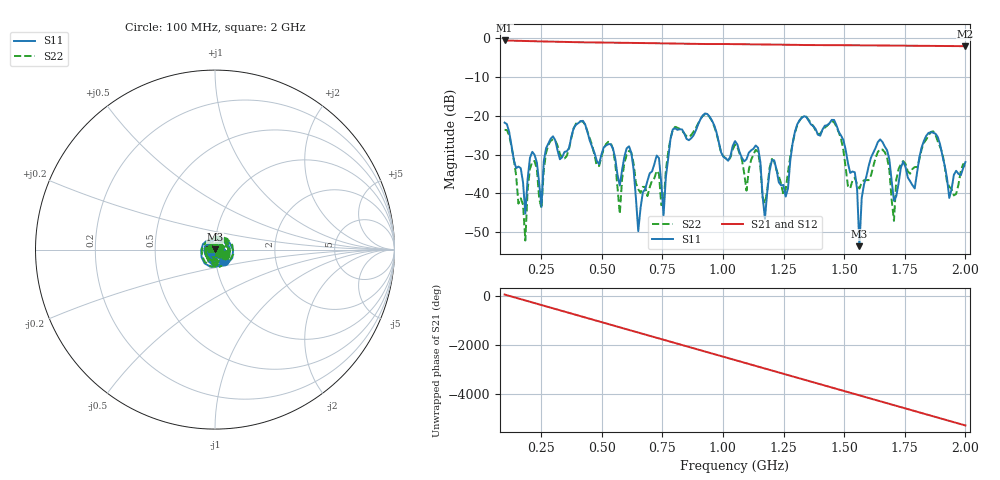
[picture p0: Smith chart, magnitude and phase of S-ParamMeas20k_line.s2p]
!Keysight Technologies,N5242B,MY48420967,A.15.65.19
!Date: Thursday, December 15, 2022 09:51:52
!Correction: S11(C  2-Port  )
!S21(C  2-Port  )
!S12(C  2-Port  )
!S22(C  2-Port  )
!S2P File: Measurements: S11, S21, S12, S22:
# Hz S  dB  R 50
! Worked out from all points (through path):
!   201 points, 100 MHz to 2 GHz, reference 50 ohm
!   highest |S21| = -0.60 dB at 100 MHz (marker M1); lowest = -2.1 dB at 2 GHz (marker M2)
!   group delay of S21, straight-line fit = 7.85 ns
!   lowest |S11| = -53.6 dB at 1.563 GHz (marker M3), VSWR 1.00, Z = 50 + j0.203 ohm
!   |S11| at or under -10 dB: start of sweep to end of sweep
!   |S22| runs from -52.2 to -19.6 dB; largest |S21 - S12| = 0.00057
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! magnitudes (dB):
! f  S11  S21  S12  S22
! 100 MHz  -21.8  -0.6  -0.6  -23.6
! 185.5 MHz  -45.2  -0.7  -0.7  -52.2
! 214 MHz  -29.3  -0.8  -0.8  -31.9
! 252 MHz  -43.4  -0.8  -0.8  -43.9
! 423 MHz  -21.3  -1.1  -1.1  -21.5
! 575 MHz  -38.0  -1.2  -1.2  -45.3
! 613 MHz  -27.9  -1.2  -1.2  -29.1
! 651 MHz  -49.8  -1.2  -1.3  -38.9
! 736.5 MHz  -30.9  -1.3  -1.3  -35.0
! 755.5 MHz  -45.6  -1.3  -1.3  -42.9
! 793.5 MHz  -23.5  -1.4  -1.4  -23.6
! 1.05 GHz  -26.5  -1.5  -1.6  -27.4
! 1.145 GHz  -28.3  -1.6  -1.6  -29.3
! 1.173 GHz  -46.6  -1.6  -1.6  -42.6
! 1.373 GHz  -22.7  -1.8  -1.8  -22.7
! 1.496 GHz  -26.2  -1.8  -1.8  -28.7
! 1.563 GHz  -53.6  -1.8  -1.9  -38.8
! 1.611 GHz  -30.8  -1.9  -1.9  -35.4
! 1.687 GHz  -31.2  -1.9  -1.9  -34.0
! 1.706 GHz  -41.9  -1.9  -1.9  -47.1
! 1.857 GHz  -24.3  -2.0  -2.0  -24.2
! 2 GHz  -31.9  -2.1  -2.1  -33.3
